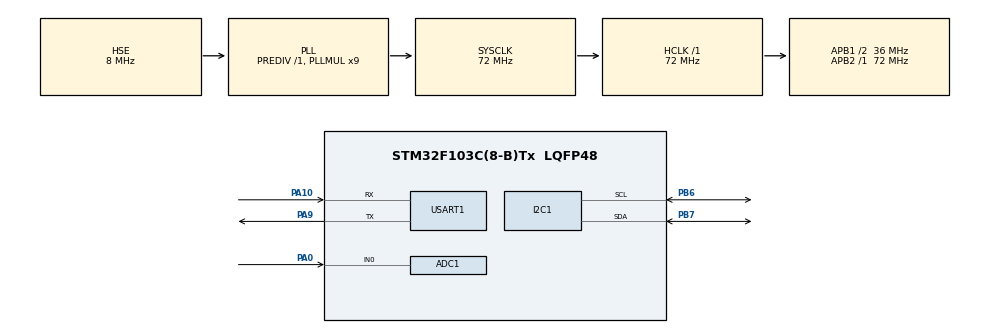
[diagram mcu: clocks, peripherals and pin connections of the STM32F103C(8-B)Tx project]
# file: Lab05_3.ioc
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ADC1.Channel-0\#ChannelRegularConversion=ADC_CHANNEL_0
ADC1.ContinuousConvMode=ENABLE
ADC1.NbrOfConversionFlag=1
ADC1.Rank-0\#ChannelRegularConversion=1
ADC1.SamplingTime-0\#ChannelRegularConversion=ADC_SAMPLETIME_1CYCLE_5
ADC1.master=1
Mcu.Family=STM32F1
Mcu.Name=STM32F103C(8-B)Tx
Mcu.Package=LQFP48
NVIC.PriorityGroup=NVIC_PRIORITYGROUP_4
PA0-WKUP.Signal=ADCx_IN0
PA10.Mode=Asynchronous
PA10.Signal=USART1_RX
PA13.Mode=Serial_Wire
PA13.Signal=SYS_JTMS-SWDIO
PA14.Mode=Serial_Wire
PA14.Signal=SYS_JTCK-SWCLK
PA9.Mode=Asynchronous
PA9.Signal=USART1_TX
PB6.Mode=I2C
PB6.Signal=I2C1_SCL
PB7.Mode=I2C
PB7.Signal=I2C1_SDA
PD0-OSC_IN.Mode=HSE-External-Oscillator
PD0-OSC_IN.Signal=RCC_OSC_IN
PD1-OSC_OUT.Mode=HSE-External-Oscillator
PD1-OSC_OUT.Signal=RCC_OSC_OUT
ProjectManager.HeapSize=0x200
ProjectManager.StackSize=0x400
ProjectManager.TargetToolchain=CMake
RCC.ADCPresc=RCC_ADCPCLK2_DIV6
RCC.AHBFreq_Value=72000000
RCC.APB1CLKDivider=RCC_HCLK_DIV2
RCC.APB1Freq_Value=36000000
RCC.APB1TimFreq_Value=72000000
RCC.APB2Freq_Value=72000000
RCC.APB2TimFreq_Value=72000000
RCC.HCLKFreq_Value=72000000
RCC.PLLMUL=RCC_PLL_MUL9
RCC.PLLSourceVirtual=RCC_PLLSOURCE_HSE
RCC.SYSCLKFreq_VALUE=72000000
RCC.SYSCLKSource=RCC_SYSCLKSOURCE_PLLCLK
RCC.USBFreq_Value=72000000
SH.ADCx_IN0.0=ADC1_IN0,IN0
USART1.VirtualMode=VM_ASYNC
board=custom

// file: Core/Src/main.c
/* USER CODE BEGIN Header */
/**
  ******************************************************************************
  * @file           : main.c
  * @brief          : Main program body
  ******************************************************************************
  * @attention
  *
  * Copyright (c) 2026 STMicroelectronics.
  * All rights reserved.
  *
  * This software is licensed under terms that can be found in the LICENSE file
  * in the root directory of this software component.
  * If no LICENSE file comes with this software, it is provided AS-IS.
  *
  ******************************************************************************
  */
/* USER CODE END Header */
#include "main.h"

/* USER CODE BEGIN Includes */
#include "i2c-lcd.h"
#include <stdio.h>
#include <string.h>
/* USER CODE END Includes */

ADC_HandleTypeDef hadc1;

I2C_HandleTypeDef hi2c1;

UART_HandleTypeDef huart1;

/* USER CODE BEGIN PV */
uint16_t adc_value = 0;
/* USER CODE END PV */

void SystemClock_Config(void);
static void MX_GPIO_Init(void);
static void MX_ADC1_Init(void);
static void MX_I2C1_Init(void);
static void MX_USART1_UART_Init(void);

int main(void)
{

  /* USER CODE BEGIN 1 */
char lcd_buffer[20];
char msg[50];
  /* USER CODE END 1 */

  /* MCU Configuration--------------------------------------------------------*/

  /* Reset of all peripherals, Initializes the Flash interface and the Systick. */
  HAL_Init();

  /* Configure the system clock */
  SystemClock_Config();

  /* Initialize all configured peripherals */
  MX_GPIO_Init();
  MX_ADC1_Init();
  MX_I2C1_Init();
  MX_USART1_UART_Init();
  /* USER CODE BEGIN 2 */
  lcd_init();
  lcd_clear();
  /* USER CODE END 2 */

  /* Infinite loop */
  while (1)
  {

    /* USER CODE BEGIN 3 */
    HAL_ADC_Start(&hadc1);
    if (HAL_ADC_PollForConversion(&hadc1, 10) == HAL_OK)
    {
      adc_value = HAL_ADC_GetValue(&hadc1);
    }
    HAL_ADC_Stop(&hadc1);

    uint32_t mv     = ((uint32_t)adc_value * 3300) / 4095;
    uint32_t volt_m = mv / 1000;
    uint32_t volt_f = mv % 1000;

    sprintf(lcd_buffer, "ADC: %04d", (int)adc_value);
    lcd_put_cur(0, 1);
    lcd_send_string(lcd_buffer);

    sprintf(lcd_buffer, "LDR: %d.%03d V", (int)volt_m, (int)volt_f);
    lcd_put_cur(1, 1);
    lcd_send_string(lcd_buffer);

    sprintf(msg, "{Node:BluePill,ADC:%d,Voltage:%d.%03d}\r\n",
            (int)adc_value, (int)volt_m, (int)volt_f);
    HAL_UART_Transmit(&huart1, (uint8_t*)msg, strlen(msg), HAL_MAX_DELAY);

    HAL_Delay(1000);
  }
  /* USER CODE END 3 */
}

void SystemClock_Config(void)
{
  RCC_OscInitTypeDef RCC_OscInitStruct = {0};
  RCC_ClkInitTypeDef RCC_ClkInitStruct = {0};
  RCC_PeriphCLKInitTypeDef PeriphClkInit = {0};

  /** Initializes the RCC Oscillators according to the specified parameters
  * in the RCC_OscInitTypeDef structure.
  */
  RCC_OscInitStruct.OscillatorType = RCC_OSCILLATORTYPE_HSE;
  RCC_OscInitStruct.HSEState = RCC_HSE_ON;
  RCC_OscInitStruct.HSEPredivValue = RCC_HSE_PREDIV_DIV1;
  RCC_OscInitStruct.HSIState = RCC_HSI_ON;
  RCC_OscInitStruct.PLL.PLLState = RCC_PLL_ON;
  RCC_OscInitStruct.PLL.PLLSource = RCC_PLLSOURCE_HSE;
  RCC_OscInitStruct.PLL.PLLMUL = RCC_PLL_MUL9;
  if (HAL_RCC_OscConfig(&RCC_OscInitStruct) != HAL_OK)
  {
    Error_Handler();
  }

  /** Initializes the CPU, AHB and APB buses clocks
  */
  RCC_ClkInitStruct.ClockType = RCC_CLOCKTYPE_HCLK|RCC_CLOCKTYPE_SYSCLK
                              |RCC_CLOCKTYPE_PCLK1|RCC_CLOCKTYPE_PCLK2;
  RCC_ClkInitStruct.SYSCLKSource = RCC_SYSCLKSOURCE_PLLCLK;
  RCC_ClkInitStruct.AHBCLKDivider = RCC_SYSCLK_DIV1;
  RCC_ClkInitStruct.APB1CLKDivider = RCC_HCLK_DIV2;
  RCC_ClkInitStruct.APB2CLKDivider = RCC_HCLK_DIV1;

  if (HAL_RCC_ClockConfig(&RCC_ClkInitStruct, FLASH_LATENCY_2) != HAL_OK)
  {
    Error_Handler();
  }
  PeriphClkInit.PeriphClockSelection = RCC_PERIPHCLK_ADC;
  PeriphClkInit.AdcClockSelection = RCC_ADCPCLK2_DIV6;
  if (HAL_RCCEx_PeriphCLKConfig(&PeriphClkInit) != HAL_OK)
  {
    Error_Handler();
  }
}

static void MX_ADC1_Init(void)
{

  ADC_ChannelConfTypeDef sConfig = {0};

  /** Common config
  */
  hadc1.Instance = ADC1;
  hadc1.Init.ScanConvMode = ADC_SCAN_DISABLE;
  hadc1.Init.ContinuousConvMode = ENABLE;
  hadc1.Init.DiscontinuousConvMode = DISABLE;
  hadc1.Init.ExternalTrigConv = ADC_SOFTWARE_START;
  hadc1.Init.DataAlign = ADC_DATAALIGN_RIGHT;
  hadc1.Init.NbrOfConversion = 1;
  if (HAL_ADC_Init(&hadc1) != HAL_OK)
  {
    Error_Handler();
  }

  /** Configure Regular Channel
  */
  sConfig.Channel = ADC_CHANNEL_0;
  sConfig.Rank = ADC_REGULAR_RANK_1;
  sConfig.SamplingTime = ADC_SAMPLETIME_1CYCLE_5;
  if (HAL_ADC_ConfigChannel(&hadc1, &sConfig) != HAL_OK)
  {
    Error_Handler();
  }

}

static void MX_I2C1_Init(void)
{

  hi2c1.Instance = I2C1;
  hi2c1.Init.ClockSpeed = 100000;
  hi2c1.Init.DutyCycle = I2C_DUTYCYCLE_2;
  hi2c1.Init.OwnAddress1 = 0;
  hi2c1.Init.AddressingMode = I2C_ADDRESSINGMODE_7BIT;
  hi2c1.Init.DualAddressMode = I2C_DUALADDRESS_DISABLE;
  hi2c1.Init.OwnAddress2 = 0;
  hi2c1.Init.GeneralCallMode = I2C_GENERALCALL_DISABLE;
  hi2c1.Init.NoStretchMode = I2C_NOSTRETCH_DISABLE;
  if (HAL_I2C_Init(&hi2c1) != HAL_OK)
  {
    Error_Handler();
  }

}

static void MX_USART1_UART_Init(void)
{

  huart1.Instance = USART1;
  huart1.Init.BaudRate = 115200;
  huart1.Init.WordLength = UART_WORDLENGTH_8B;
  huart1.Init.StopBits = UART_STOPBITS_1;
  huart1.Init.Parity = UART_PARITY_NONE;
  huart1.Init.Mode = UART_MODE_TX_RX;
  huart1.Init.HwFlowCtl = UART_HWCONTROL_NONE;
  huart1.Init.OverSampling = UART_OVERSAMPLING_16;
  if (HAL_UART_Init(&huart1) != HAL_OK)
  {
    Error_Handler();
  }

}

static void MX_GPIO_Init(void)
{

  /* GPIO Ports Clock Enable */
  __HAL_RCC_GPIOD_CLK_ENABLE();
  __HAL_RCC_GPIOA_CLK_ENABLE();
  __HAL_RCC_GPIOB_CLK_ENABLE();

}

void Error_Handler(void)
{
  __disable_irq();
  while (1)
  {
  }
}
